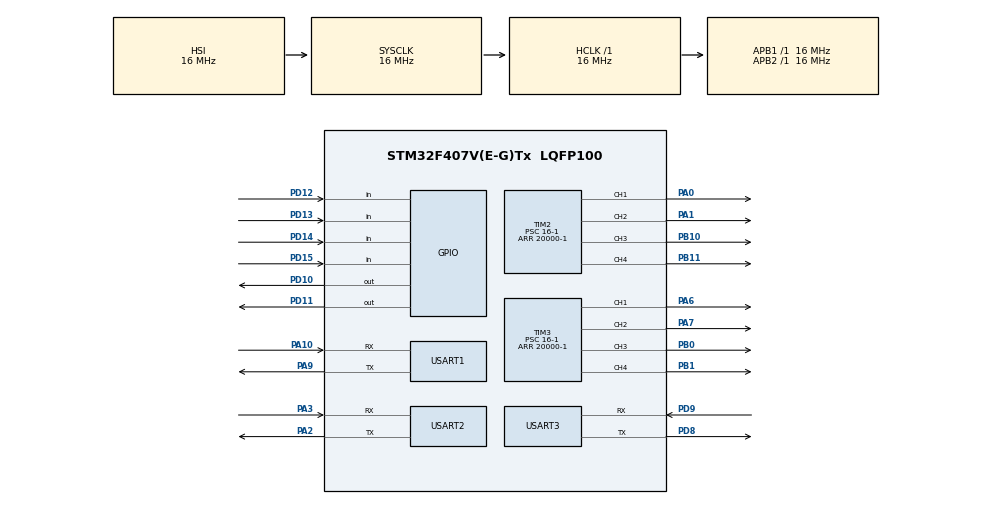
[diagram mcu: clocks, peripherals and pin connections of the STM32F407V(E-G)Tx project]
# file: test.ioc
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Dma.Request0=USART1_RX
Dma.Request1=USART3_RX
Dma.USART1_RX.0.Direction=DMA_PERIPH_TO_MEMORY
Dma.USART1_RX.0.FIFOMode=DMA_FIFOMODE_DISABLE
Dma.USART1_RX.0.Instance=DMA2_Stream2
Dma.USART1_RX.0.MemDataAlignment=DMA_MDATAALIGN_BYTE
Dma.USART1_RX.0.MemInc=DMA_MINC_ENABLE
Dma.USART1_RX.0.Mode=DMA_NORMAL
Dma.USART1_RX.0.PeriphDataAlignment=DMA_PDATAALIGN_BYTE
Dma.USART1_RX.0.PeriphInc=DMA_PINC_DISABLE
Dma.USART1_RX.0.Priority=DMA_PRIORITY_LOW
Dma.USART3_RX.1.Direction=DMA_PERIPH_TO_MEMORY
Dma.USART3_RX.1.FIFOMode=DMA_FIFOMODE_DISABLE
Dma.USART3_RX.1.Instance=DMA1_Stream1
Dma.USART3_RX.1.MemDataAlignment=DMA_MDATAALIGN_BYTE
Dma.USART3_RX.1.MemInc=DMA_MINC_ENABLE
Dma.USART3_RX.1.Mode=DMA_NORMAL
Dma.USART3_RX.1.PeriphDataAlignment=DMA_PDATAALIGN_BYTE
Dma.USART3_RX.1.PeriphInc=DMA_PINC_DISABLE
Dma.USART3_RX.1.Priority=DMA_PRIORITY_LOW
Mcu.Family=STM32F4
Mcu.Name=STM32F407V(E-G)Tx
Mcu.Package=LQFP100
NVIC.DMA1_Stream1_IRQn=true\:0\:0\:false\:false\:true\:false\:true\:true
NVIC.DMA2_Stream2_IRQn=true\:0\:0\:false\:false\:true\:false\:true\:true
NVIC.PriorityGroup=NVIC_PRIORITYGROUP_4
NVIC.USART1_IRQn=true\:0\:0\:false\:false\:true\:true\:true\:true
NVIC.USART3_IRQn=true\:0\:0\:false\:false\:true\:true\:true\:true
PA0-WKUP.Signal=S_TIM2_CH1_ETR
PA1.Signal=S_TIM2_CH2
PA10.Mode=Asynchronous
PA10.Signal=USART1_RX
PA13.Mode=Serial_Wire
PA13.Signal=SYS_JTMS-SWDIO
PA14.Mode=Serial_Wire
PA14.Signal=SYS_JTCK-SWCLK
PA2.Mode=Asynchronous
PA2.Signal=USART2_TX
PA3.Mode=Asynchronous
PA3.Signal=USART2_RX
PA6.Signal=S_TIM3_CH1
PA7.Signal=S_TIM3_CH2
PA9.Mode=Asynchronous
PA9.Signal=USART1_TX
PB0.Signal=S_TIM3_CH3
PB1.Signal=S_TIM3_CH4
PB10.Signal=S_TIM2_CH3
PB11.Signal=S_TIM2_CH4
PD10.Signal=GPIO_Output
PD11.Signal=GPIO_Output
PD12.Signal=GPIO_Input
PD13.Signal=GPIO_Input
PD14.Signal=GPIO_Input
PD15.Signal=GPIO_Input
PD8.Mode=Asynchronous
PD8.Signal=USART3_TX
PD9.Mode=Asynchronous
PD9.Signal=USART3_RX
PH0-OSC_IN.Mode=HSE-External-Oscillator
PH0-OSC_IN.Signal=RCC_OSC_IN
PH1-OSC_OUT.Mode=HSE-External-Oscillator
PH1-OSC_OUT.Signal=RCC_OSC_OUT
ProjectManager.HeapSize=0x200
ProjectManager.StackSize=0x400
ProjectManager.TargetToolchain=STM32CubeIDE
RCC.48MHZClocksFreq_Value=24000000
RCC.AHBFreq_Value=16000000
RCC.APB1Freq_Value=16000000
RCC.APB1TimFreq_Value=16000000
RCC.APB2Freq_Value=16000000
RCC.APB2TimFreq_Value=16000000
RCC.CortexFreq_Value=16000000
RCC.HCLKFreq_Value=16000000
RCC.HSE_VALUE=8000000
RCC.HSI_VALUE=16000000
RCC.LSE_VALUE=32768
RCC.PLLSourceVirtual=RCC_PLLSOURCE_HSE
RCC.SYSCLKFreq_VALUE=16000000
RCC.VCOOutputFreq_Value=96000000
SH.S_TIM2_CH1_ETR.0=TIM2_CH1,PWM Generation1 CH1
SH.S_TIM2_CH2.0=TIM2_CH2,PWM Generation2 CH2
SH.S_TIM2_CH3.0=TIM2_CH3,PWM Generation3 CH3
SH.S_TIM2_CH4.0=TIM2_CH4,PWM Generation4 CH4
SH.S_TIM3_CH1.0=TIM3_CH1,PWM Generation1 CH1
SH.S_TIM3_CH2.0=TIM3_CH2,PWM Generation2 CH2
SH.S_TIM3_CH3.0=TIM3_CH3,PWM Generation3 CH3
SH.S_TIM3_CH4.0=TIM3_CH4,PWM Generation4 CH4
TIM1.Period=1000-1
TIM1.Prescaler=16-1
TIM2.Channel-PWM\ Generation1\ CH1=TIM_CHANNEL_1
TIM2.Channel-PWM\ Generation2\ CH2=TIM_CHANNEL_2
TIM2.Channel-PWM\ Generation3\ CH3=TIM_CHANNEL_3
TIM2.Channel-PWM\ Generation4\ CH4=TIM_CHANNEL_4
TIM2.Period=20000-1
TIM2.Prescaler=16-1
TIM3.Channel-PWM\ Generation1\ CH1=TIM_CHANNEL_1
TIM3.Channel-PWM\ Generation2\ CH2=TIM_CHANNEL_2
TIM3.Channel-PWM\ Generation3\ CH3=TIM_CHANNEL_3
TIM3.Channel-PWM\ Generation4\ CH4=TIM_CHANNEL_4
TIM3.Period=20000-1
TIM3.Prescaler=16-1
USART1.VirtualMode=VM_ASYNC
USART2.VirtualMode=VM_ASYNC
USART3.VirtualMode=VM_ASYNC
VP_TIM1_VS_ClockSourceINT.Mode=Internal
VP_TIM2_VS_ClockSourceINT.Mode=Internal
VP_TIM3_VS_ClockSourceINT.Mode=Internal
board=custom

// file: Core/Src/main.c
/* USER CODE BEGIN Header */
/**
 ******************************************************************************
 * @file           : main.c
 * @brief          : Main program body
 ******************************************************************************
 * @attention
 *
 * Copyright (c) 2025 STMicroelectronics.
 * All rights reserved.
 *
 * This software is licensed under terms that can be found in the LICENSE file
 * in the root directory of this software component.
 * If no LICENSE file comes with this software, it is provided AS-IS.
 *
 ******************************************************************************
 */
/* USER CODE END Header */
#include "main.h"
#include "dma.h"
#include "tim.h"
#include "usart.h"
#include "gpio.h"
#include "math.h"

/* USER CODE BEGIN PV */
uint8_t u1_Receive[20];
uint8_t u3_Receive[6];
uint8_t u3_Transmit[3] = { 16, 2, 3 };
uint8_t number = 9;
uint8_t full[4] = { 0, 0, 0, 0 };
float x01 =3050.0;
float x02 =13850.0;

//电机3200次翻转一周
//顺时针0123垃圾桶，1是可回收
//上面1480平
//1240可倒0、2(1740倒0，1220倒2)  0右上角，1右下角
//1790可倒1、3(1740倒3，1220倒1)
//1520斜着可抓入
//顺时针转红外时间变长
//上挡板1430关1200开
//右挡板1420关1000开
//下挡板1200关950开
//左边挡板1420闭1150开
//1680升起914放下
//1865张开1346抓住
//右侧开门

//1电机youshang youshang为方向1，左下为0    0.0062304mm横向/格
//2电机zuoshang youxia为方向1，左上为0
//上下12808，左右17212
//1 1 1690,2 1 15130
/* USER CODE END PV */

void SystemClock_Config(void);

/* USER CODE BEGIN 0 */
void HAL_GPIO_EXTI_Callback(uint16_t GPIO_Pin) {
	if (GPIO_Pin == GPIO_PIN_12) {
		GPIO_PinState state = HAL_GPIO_ReadPin(GPIOD, GPIO_PIN_12);
		if (state == GPIO_PIN_SET) {
			full[0] = 1;
		}
		if (state == GPIO_PIN_RESET) {
			full[0] = 0;
		}
	}
	if (GPIO_Pin == GPIO_PIN_13) {
		GPIO_PinState state = HAL_GPIO_ReadPin(GPIOD, GPIO_PIN_13);
		if (state == GPIO_PIN_SET) {
			full[1] = 2;
		}
		if (state == GPIO_PIN_RESET) {
			full[1] = 0;
		}
	}
	if (GPIO_Pin == GPIO_PIN_14) {
		GPIO_PinState state = HAL_GPIO_ReadPin(GPIOD, GPIO_PIN_14);
		if (state == GPIO_PIN_SET) {
			full[2] = 4;
		}
		if (state == GPIO_PIN_RESET) {
			full[2] = 0;
		}
	}
	if (GPIO_Pin == GPIO_PIN_15) {
		GPIO_PinState state = HAL_GPIO_ReadPin(GPIOD, GPIO_PIN_15);
		if (state == GPIO_PIN_SET) {
			full[3] = 8;
		}
		if (state == GPIO_PIN_RESET) {
			full[3] = 0;
		}
	}
}
void HAL_UART_RxCpltCallback(UART_HandleTypeDef *huart) {
	if (huart == &huart1) {
		// HAL_UART_Receive_DMA(&huart1, u1_Receive, 5); // 调舵机
		// for(int i =0;i<5;i++){
		// 	u1_printf("%d ", u1_Receive[i]);
		// }
		// int value = 1000 * (u1_Receive[1] - '0') + 100 * (u1_Receive[2] - '0')
		// 		+ 10 * (u1_Receive[3] - '0') + u1_Receive[4] - '0';
		// u1_printf("\nvalue=%d\n", value);
		// switch (u1_Receive[0] - '0') {
		// case 1:
		// 	__HAL_TIM_SetCompare(&htim2, TIM_CHANNEL_1, value);
		// 	break;
		// case 2:
		// 	__HAL_TIM_SetCompare(&htim2, TIM_CHANNEL_2, value);
		// 	break;
		// case 3:
		// 	__HAL_TIM_SetCompare(&htim2, TIM_CHANNEL_3, value);
		// 	break;
		// case 4:
		// 	__HAL_TIM_SetCompare(&htim2, TIM_CHANNEL_4, value);
		// 	break;
		// case 5:
		// 	__HAL_TIM_SetCompare(&htim3, TIM_CHANNEL_1, value);
		// 	break;
		// case 6:
		// 	__HAL_TIM_SetCompare(&htim3, TIM_CHANNEL_2, value);
		// 	break;
		// case 7:
		// 	__HAL_TIM_SetCompare(&htim3, TIM_CHANNEL_3, value);
		// 	break;
		// case 8:
		// 	__HAL_TIM_SetCompare(&htim3, TIM_CHANNEL_4, value);
		// 	break;
		// }

		for(int i = 0;i<7;i++){
			u1_printf("%d ", u1_Receive[i]);
		}
		u1_printf("\n");
		int value = 10000*(u1_Receive[2]-'0')+1000*(u1_Receive[3]-'0')+100*(u1_Receive[4]-'0')+10*(u1_Receive[5]-'0')+u1_Receive[6]-'0';
		u1_printf("value=%d\n",value);
		Emm_V5_Pos_Control(u1_Receive[0]-'0',u1_Receive[1]-'0',500,0,value,1,0);
		HAL_UART_Receive_DMA(&huart1, u1_Receive, 7);
	}
	if (huart == &huart3) {
		u1_printf("\nreceive from huart3: ");
		for (int i = 0; i < 6; i++) {
			u1_printf("%d ", u3_Receive[i]);
		}
		HAL_UART_Receive_DMA(&huart3, u3_Receive, 6);
//		u3_Transmit[0] = 32;
//		HAL_UART_Transmit(&huart3, u3_Transmit, 1, HAL_MAX_DELAY);
		number = u3_Receive[4];
	}
}
void IsBoardOpen(uint8_t open) {
	if (open == 1) {
		__HAL_TIM_SetCompare(&htim3, TIM_CHANNEL_1, 1200);
		__HAL_TIM_SetCompare(&htim3, TIM_CHANNEL_2, 1000);
		__HAL_TIM_SetCompare(&htim3, TIM_CHANNEL_3, 950);
		__HAL_TIM_SetCompare(&htim3, TIM_CHANNEL_4, 1150);
	}
	if (open == 0) {
		__HAL_TIM_SetCompare(&htim3, TIM_CHANNEL_1, 1430);
		__HAL_TIM_SetCompare(&htim3, TIM_CHANNEL_2, 1420);
		__HAL_TIM_SetCompare(&htim3, TIM_CHANNEL_3, 1200);
		__HAL_TIM_SetCompare(&htim3, TIM_CHANNEL_4, 1420);
	}
	HAL_Delay(500);
}
void Pour(uint8_t num) {
	switch (num) {
	case 0:
		__HAL_TIM_SetCompare(&htim2, TIM_CHANNEL_1, 1240);
		HAL_Delay(1000);
		__HAL_TIM_SetCompare(&htim2, TIM_CHANNEL_2, 1740);
		HAL_Delay(2000);
		__HAL_TIM_SetCompare(&htim2, TIM_CHANNEL_2, 1480);
		HAL_Delay(500);
		break;
	case 1:
		__HAL_TIM_SetCompare(&htim2, TIM_CHANNEL_1, 1790);
		HAL_Delay(1000);
		__HAL_TIM_SetCompare(&htim2, TIM_CHANNEL_2, 1220);
		HAL_Delay(2000);
		__HAL_TIM_SetCompare(&htim2, TIM_CHANNEL_2, 1480);
		HAL_Delay(500);
		break;
	case 2:
		__HAL_TIM_SetCompare(&htim2, TIM_CHANNEL_1, 1240);
		HAL_Delay(1000);
		__HAL_TIM_SetCompare(&htim2, TIM_CHANNEL_2, 1220);
		HAL_Delay(2000);
		__HAL_TIM_SetCompare(&htim2, TIM_CHANNEL_2, 1480);
		HAL_Delay(500);
		break;
	case 3:
		__HAL_TIM_SetCompare(&htim2, TIM_CHANNEL_1, 1790);
		HAL_Delay(1000);
		__HAL_TIM_SetCompare(&htim2, TIM_CHANNEL_2, 1740);
		HAL_Delay(2000);
		__HAL_TIM_SetCompare(&htim2, TIM_CHANNEL_2, 1480);
		HAL_Delay(500);
		break;
	}
}
void Positon(int x, int y) {
	float x1 = (x+y)/2;
	float x2 = (x-y)/2;
	float value1 = x1*45.56;
	float value2 = x2*45.56;
	GoTogether(value1,value2);
}
void GoTogether(float value1, float value2){
	int speed = 1000;
	int speedx = speed*cos(atan(value2/value1));
	int speedy = speed*sin(atan(value2/value1));
	if(value1+x01<0){
		Emm_V5_Pos_Control(1, 0, speedx, 0, 0-value1-x01, 1, 1);
	}else{
		Emm_V5_Pos_Control(1, 1, speedx, 0, value1+x01, 1, 1);
	}
	HAL_Delay(10);
	if(value2+x02<0){
		Emm_V5_Pos_Control(2, 0, speedy, 0, 0-value2-x02, 1, 1);
	}else{
		Emm_V5_Pos_Control(2, 1, speedy, 0, value2+x02, 1, 1);
	}
	HAL_Delay(10);
	Emm_V5_Synchronous_motion(0);
	HAL_Delay(2000);
}
void Catch() {
	__HAL_TIM_SetCompare(&htim2, TIM_CHANNEL_3, 1100);
	HAL_Delay(500);
	__HAL_TIM_SetCompare(&htim2, TIM_CHANNEL_3, 914);
	HAL_Delay(500);
	__HAL_TIM_SetCompare(&htim2, TIM_CHANNEL_4, 1346);
	HAL_Delay(500);
	__HAL_TIM_SetCompare(&htim2, TIM_CHANNEL_3, 1680);
	HAL_Delay(500);
}
void Throw() {
	__HAL_TIM_SetCompare(&htim2, TIM_CHANNEL_4, 1865);
}
void Direction(uint8_t num) {

}
void Press() {
	HAL_GPIO_WritePin(GPIOD, GPIO_PIN_10, GPIO_PIN_SET);
	HAL_GPIO_WritePin(GPIOD, GPIO_PIN_11, GPIO_PIN_RESET);
	HAL_Delay(4000);
	HAL_GPIO_WritePin(GPIOD, GPIO_PIN_10, GPIO_PIN_RESET);
	HAL_GPIO_WritePin(GPIOD, GPIO_PIN_11, GPIO_PIN_SET);
	HAL_Delay(4000);
	HAL_GPIO_WritePin(GPIOD, GPIO_PIN_11, GPIO_PIN_RESET);
	HAL_GPIO_WritePin(GPIOD, GPIO_PIN_10, GPIO_PIN_RESET);
}
/* USER CODE END 0 */

int main(void) {

	/* MCU Configuration--------------------------------------------------------*/

	/* Reset of all peripherals, Initializes the Flash interface and the Systick. */
	HAL_Init();

	/* Configure the system clock */
	SystemClock_Config();

	/* Initialize all configured peripherals */
	MX_GPIO_Init();
	MX_DMA_Init();
	MX_USART1_UART_Init();
	MX_TIM1_Init();
	MX_TIM2_Init();
	MX_USART2_UART_Init();
	MX_USART3_UART_Init();
	MX_TIM3_Init();
	/* USER CODE BEGIN 2 */
	HAL_UART_Receive_DMA(&huart1, u1_Receive, 7);
	HAL_UART_Receive_DMA(&huart3, u3_Receive, 5);

	HAL_TIM_PWM_Start(&htim2, TIM_CHANNEL_1);//平台倒
	HAL_TIM_PWM_Start(&htim2, TIM_CHANNEL_2);//平台上旋转
	HAL_TIM_PWM_Start(&htim2, TIM_CHANNEL_3);//爪子伸长
	HAL_TIM_PWM_Start(&htim2, TIM_CHANNEL_4);//爪子抓取
	HAL_TIM_PWM_Start(&htim3, TIM_CHANNEL_1);//上挡板
	HAL_TIM_PWM_Start(&htim3, TIM_CHANNEL_2);//右挡板
	HAL_TIM_PWM_Start(&htim3, TIM_CHANNEL_3);//下挡板
	HAL_TIM_PWM_Start(&htim3, TIM_CHANNEL_4);//左挡板

	__HAL_TIM_SetCompare(&htim2, TIM_CHANNEL_1, 1240);
	__HAL_TIM_SetCompare(&htim2, TIM_CHANNEL_2, 1480);
	__HAL_TIM_SetCompare(&htim2, TIM_CHANNEL_3, 1680);
	__HAL_TIM_SetCompare(&htim2, TIM_CHANNEL_4, 1865);
	IsBoardOpen(0);

	HAL_GPIO_WritePin(GPIOD, GPIO_PIN_10, GPIO_PIN_RESET);
	HAL_GPIO_WritePin(GPIOD, GPIO_PIN_11, GPIO_PIN_RESET);

//	HAL_Delay(3000); //                             归中心点
//	Emm_V5_Pos_Control(2, 1, 500, 0, 13850, 1, 0);
//	HAL_Delay(500);
//	Emm_V5_Pos_Control(1, 1, 500, 0, 3050, 1, 0);//1108800到右上螺丝
//	//16401.4286到边界，45.56*摄像头坐标
//	HAL_Delay(500);

//	Pour(0);
//	HAL_Delay(3000);
//	Pour(1);
//	HAL_Delay(3000);
//	Pour(2);
//	HAL_Delay(3000);

	/* USER CODE END 2 */

	/* Infinite loop */
	while (1) {

		/* USER CODE BEGIN 3 */
		if (number != 9 && number !=4) {
			IsBoardOpen(1);
			Pour(number);
			IsBoardOpen(0);
			GPIO_PinState state0 = HAL_GPIO_ReadPin(GPIOD, GPIO_PIN_12);
			if (state0 == GPIO_PIN_RESET) {
				full[0] = 1;
			}
			if (state0 == GPIO_PIN_SET) {
				full[0] = 0;
			}
			GPIO_PinState state1 = HAL_GPIO_ReadPin(GPIOD, GPIO_PIN_13);
			if (state1 == GPIO_PIN_RESET) {
				full[1] = 2;
			}
			if (state1 == GPIO_PIN_SET) {
				full[1] = 0;
			}
			GPIO_PinState state2 = HAL_GPIO_ReadPin(GPIOD, GPIO_PIN_14);
			if (state2 == GPIO_PIN_RESET) {
				full[2] = 4;
			}
			if (state2 == GPIO_PIN_SET) {
				full[2] = 0;
			}
			GPIO_PinState state3 = HAL_GPIO_ReadPin(GPIOD, GPIO_PIN_15);
			if (state3 == GPIO_PIN_RESET) {
				full[3] = 8;
			}
			if (state3 == GPIO_PIN_SET) {
				full[3] = 0;
			}
			u3_Transmit[0] = 16 + full[0] + full[1] + full[2] + full[3];
			HAL_Delay(1000);
			HAL_UART_Transmit(&huart3, u3_Transmit, 1, HAL_MAX_DELAY);
			number = 9;
		}
		if (number ==4){
			Press();
			number=9;
		}
//	  IsBoardOpen(1);
//	  Pour(0);
//	  IsBoardOpen(0);
//	  HAL_Delay(2000);
//	  IsBoardOpen(1);
//	  Pour(1);
//	  IsBoardOpen(0);
//	  HAL_Delay(2000);
//	  Catch();
//	  HAL_Delay(2000);
//	  IsBoardOpen(1);
//	  Throw();
//	  IsBoardOpen(0);
//	  HAL_Delay(2000);

//	  Emm_V5_Pos_Control(1, 1, 5000, 0, 6400, 1, 1);
//	  HAL_Delay(10);
//	  Emm_V5_Pos_Control(2, 1, 5000, 0, 6400, 1, 1);//addr,dir,v,a,maichong,juedui,tongbu
//	  HAL_Delay(10);
//	  Emm_V5_Synchronous_motion(0);
//	  HAL_Delay(3000);
//	  Emm_V5_Pos_Control(1, 0, 5000, 0, 6400, 1, 1);
//	  HAL_Delay(10);
//	  Emm_V5_Pos_Control(2, 0, 5000, 0, 6400, 1, 1);
//	  HAL_Delay(10);
//	  Emm_V5_Synchronous_motion(0);
//	  HAL_Delay(3000);

//	  HAL_UART_Transmit(&huart3, u3_Transmit, 1, HAL_MAX_DELAY);
//	  HAL_Delay(2000);

//	  __HAL_TIM_SetCompare(&htim2, TIM_CHANNEL_1, 1210);
//	  HAL_Delay(1500);
//	  __HAL_TIM_SetCompare(&htim2, TIM_CHANNEL_2, 1663);
//	  HAL_Delay(1500);
//	  __HAL_TIM_SetCompare(&htim2, TIM_CHANNEL_2, 1466);
//	  HAL_Delay(1500);
//	  __HAL_TIM_SetCompare(&htim2, TIM_CHANNEL_2, 1322);
//	  HAL_Delay(1500);
//	  __HAL_TIM_SetCompare(&htim2, TIM_CHANNEL_2, 1466);
//	  HAL_Delay(1500);
//	  __HAL_TIM_SetCompare(&htim2, TIM_CHANNEL_1, 1759);
//	  HAL_Delay(1500);
//	  __HAL_TIM_SetCompare(&htim2, TIM_CHANNEL_2, 1322);
//	  HAL_Delay(1500);
//	  __HAL_TIM_SetCompare(&htim2, TIM_CHANNEL_2, 1466);
//	  HAL_Delay(1500);
//	  __HAL_TIM_SetCompare(&htim2, TIM_CHANNEL_2, 1663);
//	  HAL_Delay(1500);
//	  __HAL_TIM_SetCompare(&htim2, TIM_CHANNEL_2, 1466);
//	  HAL_Delay(1500);

	}
	/* USER CODE END 3 */
}

void SystemClock_Config(void) {
	RCC_OscInitTypeDef RCC_OscInitStruct = { 0 };
	RCC_ClkInitTypeDef RCC_ClkInitStruct = { 0 };

	/** Configure the main internal regulator output voltage
	 */
	__HAL_RCC_PWR_CLK_ENABLE();
	__HAL_PWR_VOLTAGESCALING_CONFIG(PWR_REGULATOR_VOLTAGE_SCALE1);

	/** Initializes the RCC Oscillators according to the specified parameters
	 * in the RCC_OscInitTypeDef structure.
	 */
	RCC_OscInitStruct.OscillatorType = RCC_OSCILLATORTYPE_HSI;
	RCC_OscInitStruct.HSIState = RCC_HSI_ON;
	RCC_OscInitStruct.HSICalibrationValue = RCC_HSICALIBRATION_DEFAULT;
	RCC_OscInitStruct.PLL.PLLState = RCC_PLL_NONE;
	if (HAL_RCC_OscConfig(&RCC_OscInitStruct) != HAL_OK) {
		Error_Handler();
	}

	/** Initializes the CPU, AHB and APB buses clocks
	 */
	RCC_ClkInitStruct.ClockType = RCC_CLOCKTYPE_HCLK | RCC_CLOCKTYPE_SYSCLK
			| RCC_CLOCKTYPE_PCLK1 | RCC_CLOCKTYPE_PCLK2;
	RCC_ClkInitStruct.SYSCLKSource = RCC_SYSCLKSOURCE_HSI;
	RCC_ClkInitStruct.AHBCLKDivider = RCC_SYSCLK_DIV1;
	RCC_ClkInitStruct.APB1CLKDivider = RCC_HCLK_DIV1;
	RCC_ClkInitStruct.APB2CLKDivider = RCC_HCLK_DIV1;

	if (HAL_RCC_ClockConfig(&RCC_ClkInitStruct, FLASH_LATENCY_0) != HAL_OK) {
		Error_Handler();
	}
}

void Error_Handler(void) {
	__disable_irq();
	while (1) {
	}
}
